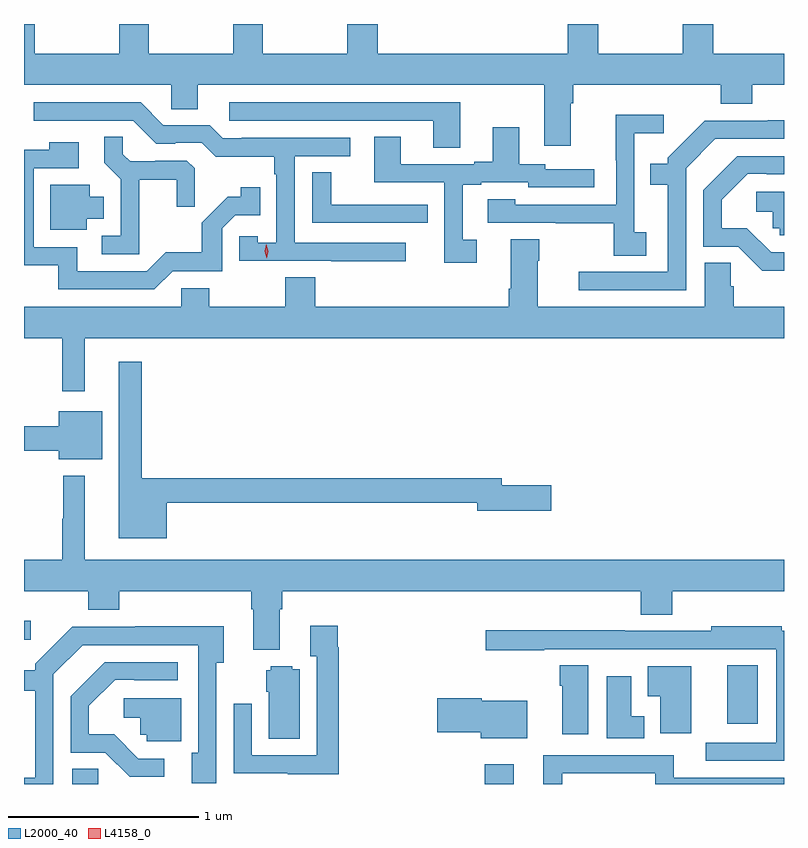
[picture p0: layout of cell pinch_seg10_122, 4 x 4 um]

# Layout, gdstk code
import gdstk
lib = gdstk.Library(unit=1e-6, precision=1e-09)
def R(c, l, rs):  # rectangles x0, y0, x1, y1
    for r in rs: c.add(gdstk.rectangle(r[:2], r[2:], *l))
def P(c, l, *ps):  # polygons
    for p in ps: c.add(gdstk.Polygon(p, *l))
L2000_40 = (2000, 40)
L4158_0 = (4158, 0)

pinch_seg10_122 = lib.new_cell('pinch_seg10_122')
R(pinch_seg10_122, L2000_40, [(766.163,1262.005,766.301,1262.084), (768.335,1262.005,768.487,1262.11), (769.61,1262.322,769.771,1262.629), (765.91,1262.765,765.946,1262.863)])
P(pinch_seg10_122, L2000_40, [(766.566,1266.005),(766.411,1266.005),(766.411,1265.848),(765.966,1265.848),(765.966,1266.005),(765.91,1266.005),(765.91,1265.684),(766.686,1265.684),(766.686,1265.557),(766.825,1265.557),(766.825,1265.684),(768.647,1265.684),(768.647,1265.364),(768.787,1265.364),(768.787,1265.588),(768.8,1265.588),(768.8,1265.684),(769.577,1265.684),(769.577,1265.585),(769.742,1265.585),(769.742,1265.684),(769.91,1265.684),(769.91,1265.848),(769.538,1265.848),(769.538,1266.005),(769.378,1266.005),(769.378,1265.848),(768.933,1265.848),(768.933,1266.005),(768.773,1266.005),(768.773,1265.848),(767.771,1265.848),(767.771,1266.005),(767.611,1266.005),(767.611,1265.848),(767.166,1265.848),(767.166,1266.005),(767.011,1266.005),(767.011,1265.848),(766.566,1265.848)],
  [(768.205,1265.592),(766.989,1265.592),(766.989,1265.496),(768.065,1265.496),(768.065,1265.353),(768.205,1265.353)],
  [(767.92,1264.854),(767.334,1264.854),(767.334,1265.31),(767.626,1265.31),(767.626,1265.406),(767.056,1265.406),(767.056,1265.403),(766.956,1265.403),(766.887,1265.472),(766.644,1265.472),(766.524,1265.592),(765.962,1265.592),(765.962,1265.496),(766.485,1265.496),(766.605,1265.376),(766.706,1265.376),(766.706,1265.379),(766.845,1265.379),(766.918,1265.306),(767.226,1265.306),(767.226,1265.213),(767.238,1265.213),(767.238,1264.855),(767.139,1264.855),(767.139,1264.887),(767.043,1264.887),(767.043,1264.758),(767.527,1264.758),(767.527,1264.756),(767.92,1264.756)],
  [(769.186,1264.908),(769.122,1264.908),(769.122,1265.429),(769.276,1265.429),(769.276,1265.527),(769.024,1265.527),(769.024,1265.288),(769.026,1265.288),(769.026,1265.055),(768.495,1265.055),(768.495,1265.083),(768.351,1265.083),(768.351,1264.959),(768.709,1264.959),(768.709,1264.957),(769.014,1264.957),(769.014,1264.786),(769.186,1264.786)],
  [(769.395,1265.247),(769.548,1265.4),(769.91,1265.4),(769.91,1265.498),(769.825,1265.498),(769.825,1265.496),(769.494,1265.496),(769.299,1265.301),(769.299,1265.269),(769.207,1265.269),(769.207,1265.16),(769.298,1265.16),(769.298,1264.701),(768.831,1264.701),(768.831,1264.605),(769.395,1264.605)],
  [(768.292,1264.869),(768.22,1264.869),(768.22,1265.16),(768.316,1265.16),(768.316,1265.172),(768.564,1265.172),(768.564,1265.145),(768.91,1265.145),(768.91,1265.241),(768.654,1265.241),(768.654,1265.268),(768.517,1265.268),(768.517,1265.461),(768.377,1265.461),(768.377,1265.281),(768.281,1265.281),(768.281,1265.268),(767.893,1265.268),(767.893,1265.411),(767.753,1265.411),(767.753,1265.172),(768.123,1265.172),(768.123,1264.749),(768.292,1264.749)],
  [(766.517,1265.186),(766.714,1265.186),(766.714,1265.043),(766.808,1265.043),(766.808,1265.245),(766.767,1265.286),(766.602,1265.286),(766.602,1265.283),(766.468,1265.283),(766.431,1265.32),(766.431,1265.411),(766.333,1265.411),(766.333,1265.275),(766.419,1265.189),(766.419,1264.89),(766.32,1264.89),(766.32,1264.794),(766.517,1264.794)],
  [(766.692,1264.704),(766.953,1264.704),(766.953,1264.929),(767.022,1264.998),(767.153,1264.998),(767.153,1265.146),(767.052,1265.146),(767.052,1265.096),(766.982,1265.096),(766.845,1264.958),(766.845,1264.803),(766.656,1264.803),(766.557,1264.704),(766.189,1264.704),(766.189,1264.83),(765.96,1264.83),(765.96,1265.247),(766.198,1265.247),(766.198,1265.383),(766.042,1265.383),(766.042,1265.343),(765.91,1265.343),(765.91,1264.734),(766.091,1264.734),(766.091,1264.608),(766.596,1264.608)],
  [(769.91,1264.803),(769.842,1264.803),(769.715,1264.93),(769.582,1264.93),(769.582,1265.08),(769.719,1265.217),(769.819,1265.217),(769.819,1265.214),(769.91,1265.214),(769.91,1265.31),(769.664,1265.31),(769.485,1265.131),(769.485,1264.833),(769.668,1264.833),(769.796,1264.706),(769.91,1264.706)],
  [(768.034,1265.054),(767.921,1265.054),(767.921,1265.055),(767.526,1265.055),(767.526,1265.225),(767.427,1265.225),(767.427,1264.959),(768.034,1264.959)],
  [(766.24,1264.979),(766.33,1264.979),(766.33,1265.095),(766.255,1265.095),(766.255,1265.158),(766.049,1265.158),(766.049,1264.922),(766.24,1264.922)],
  [(769.91,1265.121),(769.764,1265.121),(769.764,1265.018),(769.851,1265.018),(769.851,1264.929),(769.887,1264.929),(769.887,1264.893),(769.91,1264.893)],
  [(766.231,1264.352),(769.91,1264.352),(769.91,1264.516),(769.646,1264.516),(769.646,1264.626),(769.631,1264.626),(769.631,1264.748),(769.493,1264.748),(769.493,1264.516),(768.613,1264.516),(768.613,1264.76),(768.621,1264.76),(768.621,1264.873),(768.473,1264.873),(768.473,1264.612),(768.461,1264.612),(768.461,1264.516),(767.444,1264.516),(767.444,1264.673),(767.284,1264.673),(767.284,1264.516),(766.884,1264.516),(766.884,1264.614),(766.737,1264.614),(766.737,1264.516),(765.91,1264.516),(765.91,1264.352),(766.11,1264.352),(766.11,1264.071),(766.231,1264.071)],
  [(766.66,1263.486),(768.296,1263.486),(768.296,1263.443),(768.685,1263.443),(768.685,1263.578),(768.424,1263.578),(768.424,1263.614),(766.531,1263.614),(766.531,1264.228),(766.409,1264.228),(766.409,1263.299),(766.66,1263.299)],
  [(766.321,1263.967),(766.094,1263.967),(766.094,1263.889),(765.91,1263.889),(765.91,1263.76),(766.094,1263.76),(766.094,1263.713),(766.321,1263.713)],
  [(766.231,1263.628),(766.117,1263.628),(766.117,1263.401),(766.11,1263.401),(766.11,1263.184),(765.91,1263.184),(765.91,1263.02),(766.247,1263.02),(766.247,1262.921),(766.412,1262.921),(766.412,1263.02),(767.105,1263.02),(767.105,1262.924),(767.117,1262.924),(767.117,1262.711),(767.257,1262.711),(767.257,1262.924),(767.27,1262.924),(767.27,1263.02),(769.157,1263.02),(769.157,1262.896),(769.322,1262.896),(769.322,1263.02),(769.91,1263.02),(769.91,1263.184),(766.231,1263.184)],
  [(767.567,1262.726),(767.56,1262.726),(767.56,1262.839),(767.417,1262.839),(767.417,1262.678),(767.451,1262.678),(767.451,1262.157),(767.109,1262.157),(767.109,1262.428),(767.013,1262.428),(767.013,1262.061),(767.297,1262.061),(767.297,1262.057),(767.567,1262.057)],
  [(769.91,1262.811),(769.899,1262.811),(769.899,1262.836),(769.527,1262.836),(769.527,1262.811),(769.073,1262.811),(769.073,1262.813),(768.339,1262.813),(768.339,1262.71),(768.647,1262.71),(768.647,1262.715),(769.868,1262.715),(769.868,1262.223),(769.497,1262.223),(769.497,1262.127),(769.91,1262.127)],
  [(766.065,1262.583),(766.218,1262.736),(766.827,1262.736),(766.827,1262.17),(766.793,1262.17),(766.793,1262.01),(766.923,1262.01),(766.923,1262.642),(766.96,1262.642),(766.96,1262.834),(766.495,1262.834),(766.495,1262.832),(766.164,1262.832),(765.969,1262.637),(765.969,1262.605),(765.91,1262.605),(765.91,1262.496),(765.968,1262.496),(765.968,1262.037),(765.91,1262.037),(765.91,1262.005),(766.065,1262.005)],
  [(766.648,1262.139),(766.512,1262.139),(766.385,1262.266),(766.252,1262.266),(766.252,1262.416),(766.389,1262.553),(766.489,1262.553),(766.489,1262.55),(766.72,1262.55),(766.72,1262.646),(766.334,1262.646),(766.155,1262.467),(766.155,1262.169),(766.338,1262.169),(766.466,1262.042),(766.648,1262.042)],
  [(768.88,1262.63),(768.731,1262.63),(768.731,1262.522),(768.743,1262.522),(768.743,1262.268),(768.88,1262.268)],
  [(769.423,1262.626),(769.194,1262.626),(769.194,1262.468),(769.259,1262.468),(769.259,1262.271),(769.423,1262.271)],
  [(767.362,1262.608),(767.322,1262.608),(767.322,1262.626),(767.208,1262.626),(767.208,1262.604),(767.186,1262.604),(767.186,1262.49),(767.198,1262.49),(767.198,1262.242),(767.362,1262.242)],
  [(769.174,1262.362),(769.105,1262.362),(769.105,1262.572),(768.977,1262.572),(768.977,1262.246),(769.174,1262.246)],
  [(766.738,1262.457),(766.434,1262.457),(766.434,1262.354),(766.521,1262.354),(766.521,1262.265),(766.557,1262.265),(766.557,1262.229),(766.738,1262.229)],
  [(768.559,1262.443),(768.318,1262.443),(768.318,1262.456),(768.084,1262.456),(768.084,1262.278),(768.314,1262.278),(768.314,1262.246),(768.559,1262.246)],
  [(768.742,1262.061),(769.232,1262.061),(769.232,1262.005),(769.91,1262.005),(769.91,1262.037),(769.33,1262.037),(769.33,1262.157),(768.644,1262.157),(768.644,1262.005),(768.742,1262.005)])
P(pinch_seg10_122, L4158_0, [(767.187,1264.773),(767.187,1264.773),(767.176,1264.809),(767.184,1264.845),(767.184,1264.845),(767.184,1264.845),(767.196,1264.81),(767.187,1264.773)])

lib.write_gds('pinch_seg10_122.gds')
